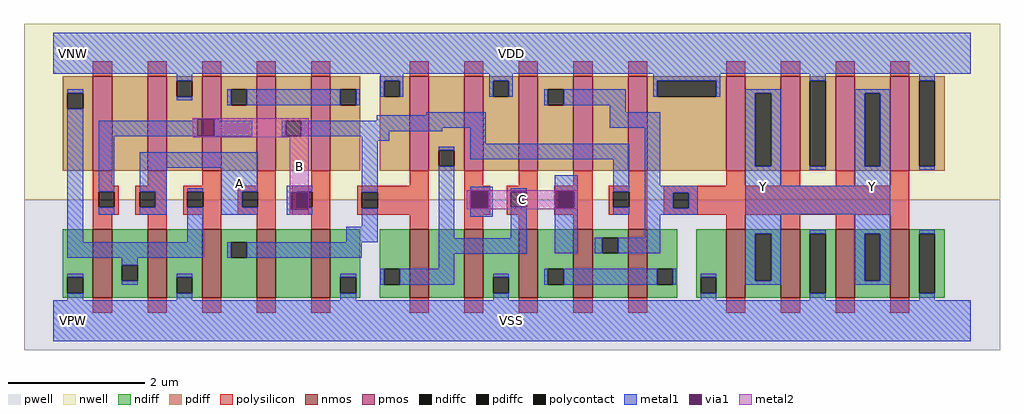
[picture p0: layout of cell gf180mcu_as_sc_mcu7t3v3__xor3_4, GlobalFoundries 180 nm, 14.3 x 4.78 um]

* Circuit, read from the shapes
.subckt gf180mcu_as_sc_mcu7t3v3__xor3_4 VDD VNW VPW VSS Y B A C
XM1 n1 B VSS VPW nfet_03v3 w=1u l=0.28u
XM2 VSS A n1 VPW nfet_03v3 w=1u l=0.28u
XM3 n2 n1 VSS VPW nfet_03v3 w=1u l=0.28u
XM4 n3 A n2 VPW nfet_03v3 w=1u l=0.28u
XM5 VSS B n3 VPW nfet_03v3 w=1u l=0.28u
XM6 n4 n2 n5 VPW nfet_03v3 w=1u l=0.28u
XM7 VSS C n4 VPW nfet_03v3 w=1u l=0.28u
XM8 n6 n5 VSS VPW nfet_03v3 w=1u l=0.28u
XM9 n7 C n6 VPW nfet_03v3 w=1u l=0.28u
XM10 n6 n2 n7 VPW nfet_03v3 w=1u l=0.28u
XM11 Y n7 VSS VPW nfet_03v3 w=1u l=0.28u m=4
XM12 n8 B n1 VNW pfet_03v3 w=1.38u l=0.28u
XM13 VDD A n8 VNW pfet_03v3 w=1.38u l=0.28u
XM14 n9 n1 VDD VNW pfet_03v3 w=1.38u l=0.28u
XM15 n2 A n9 VNW pfet_03v3 w=1.38u l=0.28u
XM16 n9 B n2 VNW pfet_03v3 w=1.38u l=0.28u
XM17 n5 n2 VDD VNW pfet_03v3 w=1.38u l=0.28u
XM18 VDD C n5 VNW pfet_03v3 w=1.38u l=0.28u
XM19 n7 n5 VDD VNW pfet_03v3 w=1.38u l=0.28u
XM20 n10 C n7 VNW pfet_03v3 w=1.38u l=0.28u
XM21 VDD n2 n10 VNW pfet_03v3 w=1.38u l=0.28u
XM22 Y n7 VDD VNW pfet_03v3 w=1.38u l=0.28u m=4
.ends

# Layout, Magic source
magic
tech gf180mcuD
magscale 1 10
<< nwell >>
rect -86 354 2774 870
<< pwell >>
rect -86 -86 2774 354
<< nmos >>
rect 116 68 172 268
rect 276 68 332 268
rect 436 68 492 268
rect 596 68 652 268
rect 756 68 812 268
rect 1044 68 1100 268
rect 1204 68 1260 268
rect 1364 68 1420 268
rect 1524 68 1580 268
rect 1684 68 1740 268
rect 1972 68 2028 268
rect 2132 68 2188 268
rect 2292 68 2348 268
rect 2452 68 2508 268
<< pmos >>
rect 116 440 172 716
rect 276 440 332 716
rect 436 440 492 716
rect 596 440 652 716
rect 756 440 812 716
rect 1044 440 1100 716
rect 1204 440 1260 716
rect 1364 440 1420 716
rect 1524 440 1580 716
rect 1684 440 1740 716
rect 1972 440 2028 716
rect 2132 440 2188 716
rect 2292 440 2348 716
rect 2452 440 2508 716
<< ndiff >>
rect 28 127 116 268
rect 28 81 41 127
rect 87 81 116 127
rect 28 68 116 81
rect 172 163 276 268
rect 172 117 201 163
rect 247 117 276 163
rect 172 68 276 117
rect 332 127 436 268
rect 332 81 361 127
rect 407 81 436 127
rect 332 68 436 81
rect 492 230 596 268
rect 492 184 521 230
rect 567 184 596 230
rect 492 68 596 184
rect 652 68 756 268
rect 812 127 900 268
rect 812 81 841 127
rect 887 81 900 127
rect 812 68 900 81
rect 956 152 1044 268
rect 956 106 969 152
rect 1015 106 1044 152
rect 956 68 1044 106
rect 1100 68 1204 268
rect 1260 127 1364 268
rect 1260 81 1289 127
rect 1335 81 1364 127
rect 1260 68 1364 81
rect 1420 152 1524 268
rect 1420 106 1449 152
rect 1495 106 1524 152
rect 1420 68 1524 106
rect 1580 244 1684 268
rect 1580 198 1609 244
rect 1655 198 1684 244
rect 1580 68 1684 198
rect 1740 152 1828 268
rect 1740 106 1769 152
rect 1815 106 1828 152
rect 1740 68 1828 106
rect 1884 127 1972 268
rect 1884 81 1897 127
rect 1943 81 1972 127
rect 1884 68 1972 81
rect 2028 255 2132 268
rect 2028 117 2057 255
rect 2103 117 2132 255
rect 2028 68 2132 117
rect 2188 255 2292 268
rect 2188 81 2217 255
rect 2263 81 2292 255
rect 2188 68 2292 81
rect 2348 255 2452 268
rect 2348 117 2377 255
rect 2423 117 2452 255
rect 2348 68 2452 117
rect 2508 255 2612 268
rect 2508 81 2537 255
rect 2583 81 2612 255
rect 2508 68 2612 81
<< pdiff >>
rect 28 667 116 716
rect 28 621 41 667
rect 87 621 116 667
rect 28 440 116 621
rect 172 440 276 716
rect 332 703 436 716
rect 332 657 361 703
rect 407 657 436 703
rect 332 440 436 657
rect 492 678 596 716
rect 492 632 521 678
rect 567 632 596 678
rect 492 440 596 632
rect 652 586 756 716
rect 652 540 681 586
rect 727 540 756 586
rect 652 440 756 540
rect 812 678 900 716
rect 812 632 841 678
rect 887 632 900 678
rect 812 440 900 632
rect 956 703 1044 716
rect 956 657 969 703
rect 1015 657 1044 703
rect 956 440 1044 657
rect 1100 499 1204 716
rect 1100 453 1129 499
rect 1175 453 1204 499
rect 1100 440 1204 453
rect 1260 703 1364 716
rect 1260 657 1289 703
rect 1335 657 1364 703
rect 1260 440 1364 657
rect 1420 678 1524 716
rect 1420 632 1449 678
rect 1495 632 1524 678
rect 1420 440 1524 632
rect 1580 440 1684 716
rect 1740 703 1972 716
rect 1740 657 1769 703
rect 1943 657 1972 703
rect 1740 440 1972 657
rect 2028 667 2132 716
rect 2028 453 2057 667
rect 2103 453 2132 667
rect 2028 440 2132 453
rect 2188 703 2292 716
rect 2188 453 2217 703
rect 2263 453 2292 703
rect 2188 440 2292 453
rect 2348 667 2452 716
rect 2348 453 2377 667
rect 2423 453 2452 667
rect 2348 440 2452 453
rect 2508 703 2612 716
rect 2508 453 2537 703
rect 2583 453 2612 703
rect 2508 440 2612 453
<< ndiffc >>
rect 41 81 87 127
rect 201 117 247 163
rect 361 81 407 127
rect 521 184 567 230
rect 841 81 887 127
rect 969 106 1015 152
rect 1289 81 1335 127
rect 1449 106 1495 152
rect 1609 198 1655 244
rect 1769 106 1815 152
rect 1897 81 1943 127
rect 2057 117 2103 255
rect 2217 81 2263 255
rect 2377 117 2423 255
rect 2537 81 2583 255
<< pdiffc >>
rect 41 621 87 667
rect 361 657 407 703
rect 521 632 567 678
rect 681 540 727 586
rect 841 632 887 678
rect 969 657 1015 703
rect 1129 453 1175 499
rect 1289 657 1335 703
rect 1449 632 1495 678
rect 1769 657 1943 703
rect 2057 453 2103 667
rect 2217 453 2263 703
rect 2377 453 2423 667
rect 2537 453 2583 703
<< polysilicon >>
rect 116 716 172 760
rect 276 716 332 760
rect 436 716 492 760
rect 596 716 652 760
rect 756 716 812 760
rect 1044 716 1100 760
rect 1204 716 1260 760
rect 1364 716 1420 760
rect 1524 716 1580 760
rect 1684 716 1740 760
rect 1972 716 2028 760
rect 2132 716 2188 760
rect 2292 716 2348 760
rect 2452 716 2508 760
rect 116 396 172 440
rect 276 396 332 440
rect 436 396 492 440
rect 596 396 652 440
rect 756 396 812 440
rect 1044 396 1100 440
rect 116 378 192 396
rect 116 332 133 378
rect 179 332 192 378
rect 116 310 192 332
rect 240 378 332 396
rect 240 332 253 378
rect 299 332 332 378
rect 240 310 332 332
rect 380 378 492 396
rect 380 332 393 378
rect 439 332 492 378
rect 380 310 492 332
rect 540 378 652 396
rect 540 332 553 378
rect 599 332 652 378
rect 540 310 652 332
rect 700 378 812 396
rect 700 332 713 378
rect 759 332 812 378
rect 700 310 812 332
rect 891 376 1100 396
rect 891 330 904 376
rect 950 330 1100 376
rect 891 310 1100 330
rect 116 268 172 310
rect 276 268 332 310
rect 436 268 492 310
rect 596 268 652 310
rect 756 268 812 310
rect 1044 268 1100 310
rect 1204 396 1260 440
rect 1364 396 1420 440
rect 1524 396 1580 440
rect 1684 396 1740 440
rect 1972 396 2028 440
rect 2132 396 2188 440
rect 2292 396 2348 440
rect 2452 396 2508 440
rect 1204 378 1280 396
rect 1204 332 1221 378
rect 1267 332 1280 378
rect 1204 310 1280 332
rect 1328 378 1420 396
rect 1328 332 1341 378
rect 1387 332 1420 378
rect 1328 310 1420 332
rect 1468 378 1580 396
rect 1468 332 1481 378
rect 1527 332 1580 378
rect 1468 310 1580 332
rect 1628 378 1740 396
rect 1628 332 1641 378
rect 1687 332 1740 378
rect 1628 310 1740 332
rect 1788 375 2508 396
rect 1788 329 1816 375
rect 1862 329 2508 375
rect 1788 310 2508 329
rect 1204 268 1260 310
rect 1364 268 1420 310
rect 1524 268 1580 310
rect 1684 268 1740 310
rect 1972 268 2028 310
rect 2132 268 2188 310
rect 2292 268 2348 310
rect 2452 268 2508 310
rect 116 24 172 68
rect 276 24 332 68
rect 436 24 492 68
rect 596 24 652 68
rect 756 24 812 68
rect 1044 24 1100 68
rect 1204 24 1260 68
rect 1364 24 1420 68
rect 1524 24 1580 68
rect 1684 24 1740 68
rect 1972 24 2028 68
rect 2132 24 2188 68
rect 2292 24 2348 68
rect 2452 24 2508 68
<< polycontact >>
rect 133 332 179 378
rect 253 332 299 378
rect 393 332 439 378
rect 553 332 599 378
rect 713 332 759 378
rect 904 330 950 376
rect 1221 332 1267 378
rect 1341 332 1387 378
rect 1481 332 1527 378
rect 1641 332 1687 378
rect 1816 329 1862 375
<< metal1 >>
rect 0 724 2688 844
rect 361 703 407 724
rect 41 667 87 678
rect 958 703 1026 724
rect 361 646 407 657
rect 510 632 521 678
rect 567 632 841 678
rect 887 632 898 678
rect 958 657 969 703
rect 1015 657 1026 703
rect 1278 703 1346 724
rect 1278 657 1289 703
rect 1335 657 1346 703
rect 1758 703 1954 724
rect 1438 632 1449 678
rect 1495 632 1677 678
rect 1758 657 1769 703
rect 1943 657 1954 703
rect 2217 703 2263 724
rect 2028 667 2132 678
rect 41 230 87 621
rect 1631 611 1677 632
rect 1093 602 1267 611
rect 409 586 421 592
rect 133 540 421 586
rect 473 586 485 592
rect 948 586 1267 602
rect 473 540 583 586
rect 670 540 681 586
rect 727 565 1267 586
rect 1631 565 1779 611
rect 727 556 1139 565
rect 727 540 984 556
rect 133 378 179 540
rect 904 528 984 540
rect 133 310 179 332
rect 253 448 599 494
rect 253 378 332 448
rect 299 332 332 378
rect 253 310 332 332
rect 393 378 439 389
rect 393 230 439 332
rect 492 378 599 448
rect 492 332 553 378
rect 492 310 599 332
rect 684 378 759 396
rect 684 377 713 378
rect 684 325 695 377
rect 747 325 759 332
rect 684 310 759 325
rect 904 376 950 528
rect 1221 519 1267 565
rect 904 276 950 330
rect 858 230 950 276
rect 1129 499 1175 510
rect 1221 473 1687 519
rect 1129 242 1175 453
rect 1221 381 1287 393
rect 1221 378 1223 381
rect 1221 329 1223 332
rect 1275 329 1287 381
rect 1221 305 1287 329
rect 1341 378 1387 389
rect 1341 242 1387 332
rect 41 184 439 230
rect 510 184 521 230
rect 567 184 904 230
rect 1129 196 1387 242
rect 1470 381 1536 427
rect 1470 329 1473 381
rect 1525 378 1536 381
rect 1527 332 1536 378
rect 1525 329 1536 332
rect 1470 198 1536 329
rect 1641 378 1687 473
rect 1641 310 1687 332
rect 1733 396 1779 565
rect 2028 453 2057 667
rect 2103 453 2132 667
rect 2028 396 2132 453
rect 2537 703 2583 724
rect 2217 442 2263 453
rect 2348 667 2452 678
rect 2348 453 2377 667
rect 2423 453 2452 667
rect 2348 396 2452 453
rect 2537 442 2583 453
rect 1733 375 1889 396
rect 1733 329 1816 375
rect 1862 329 1889 375
rect 1733 310 1889 329
rect 2028 312 2452 396
rect 1733 244 1779 310
rect 1586 198 1609 244
rect 1655 198 1779 244
rect 2028 255 2132 312
rect 201 163 247 184
rect 41 127 87 138
rect 1129 152 1175 196
rect 201 106 247 117
rect 361 127 407 138
rect 41 60 87 81
rect 361 60 407 81
rect 841 127 887 138
rect 958 106 969 152
rect 1015 106 1175 152
rect 1289 127 1335 138
rect 841 60 887 81
rect 1438 106 1449 152
rect 1495 106 1769 152
rect 1815 106 1826 152
rect 1897 127 1943 138
rect 1289 60 1335 81
rect 2028 117 2057 255
rect 2103 117 2132 255
rect 2028 106 2132 117
rect 2217 255 2263 266
rect 1897 60 1943 81
rect 2348 255 2452 312
rect 2348 117 2377 255
rect 2423 117 2452 255
rect 2348 106 2452 117
rect 2537 255 2583 266
rect 2217 60 2263 81
rect 2537 60 2583 81
rect 0 -60 2688 60
<< via1 >>
rect 421 540 473 592
rect 695 332 713 377
rect 713 332 747 377
rect 695 325 747 332
rect 1223 378 1275 381
rect 1223 332 1267 378
rect 1267 332 1275 378
rect 1223 329 1275 332
rect 1473 378 1525 381
rect 1473 332 1481 378
rect 1481 332 1525 378
rect 1473 329 1525 332
<< metal2 >>
rect 409 592 749 594
rect 409 540 421 592
rect 473 540 749 592
rect 409 538 749 540
rect 693 377 749 538
rect 693 325 695 377
rect 747 325 749 377
rect 1211 381 1537 383
rect 1211 329 1223 381
rect 1275 329 1473 381
rect 1525 329 1537 381
rect 1211 327 1537 329
rect 693 310 749 325
<< labels >>
flabel metal1 s 0 724 2688 844 0 FreeSans 400 0 0 0 VDD
port 1 nsew power bidirectional abutment
flabel metal1 s 0 -60 2688 60 0 FreeSans 400 0 0 0 VSS
port 4 nsew ground bidirectional abutment
flabel nwell s 10 734 110 834 0 FreeSans 400 0 0 0 VNW
port 2 nsew power bidirectional
flabel pwell s 10 -50 110 50 0 FreeSans 400 0 0 0 VPW
port 3 nsew ground bidirectional
flabel metal1 2028 106 2132 678 0 FreeSans 200 0 0 0 Y
port 5 nsew signal output
flabel metal2 693 310 749 594 0 FreeSans 200 0 0 0 B
port 6 nsew signal input
flabel metal1 492 310 599 494 0 FreeSans 200 0 0 0 A
port 7 nsew signal input
flabel metal2 1211 327 1537 383 0 FreeSans 200 0 0 0 C
port 8 nsew signal input
flabel metal1 2348 106 2452 678 0 FreeSans 200 0 0 0 Y
port 5 nsew signal output
<< properties >>
string FIXED_BBOX 0 0 2688 784
string LEFclass CORE
string LEFsite unithd
string LEFsymmetry X Y
string MASKHINTS_NPLUS -16 -46 2704 354
string MASKHINTS_PPLUS -16 354 2704 830
<< end >>
